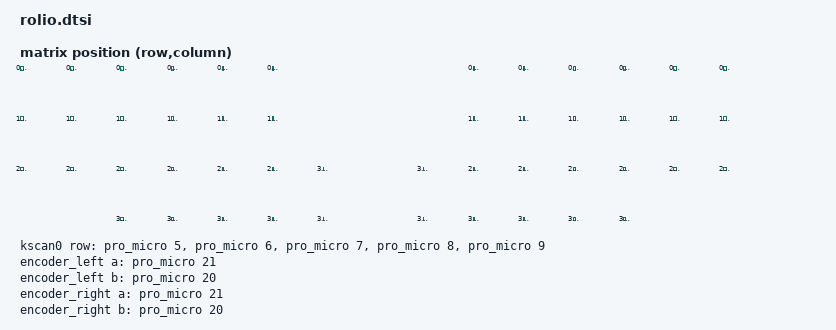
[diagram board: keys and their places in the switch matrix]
/*
 * Copyright (c) 2020 Pete Johanson, Ryan Cross
 *
 * SPDX-License-Identifier: MIT
 */

#include <dt-bindings/zmk/matrix_transform.h>
#include <physical_layouts.dtsi>

/ {
    chosen {
        zmk,kscan = &kscan0;
        zmk,matrix_transform = &default_transform;
        zmk,backlight = &backlight;
    };

    default_transform: keymap_transform_0 {
        compatible = "zmk,matrix-transform";
        columns = <16>;
        rows = <4>;
// | SW_A0 | SW_B0 | SW_C0 | SW_D0 | SW_E0 | SW_F0 |                   | SW_F0 | SW_E0 | SW_D0 | SW_C0 | SW_B0 | SW_A0 |
// | SW_A1 | SW_B1 | SW_C1 | SW_D1 | SW_E1 | SW_F1 |                   | SW_F1 | SW_E1 | SW_D1 | SW_C1 | SW_B1 | SW_A1 |
// | SW_A2 | SW_B2 | SW_C2 | SW_D2 | SW_E2 | SW_F2 | RE_1  |   | RE_1  | SW_F2 | SW_E2 | SW_D2 | SW_C2 | SW_B2 | SW_A2 |
//                 | SW_B4 | SW_B3 | SW_C3 | SW_D3 | SW_E3 |   | SW_E3 | SW_D3 | SW_C3 | SW_B3 | SW_B4 |
        map = <
RC(0,0) RC(0,1) RC(0,2) RC(0,3) RC(0,4) RC(0,5)                    RC(0,6) RC(0,7) RC(0,8) RC(0,9) RC(0,10) RC(0,11)
RC(1,0) RC(1,1) RC(1,2) RC(1,3) RC(1,4) RC(1,5)                    RC(1,6) RC(1,7) RC(1,8) RC(1,9) RC(1,10) RC(1,11)
RC(2,0) RC(2,1) RC(2,2) RC(2,3) RC(2,4) RC(2,5) RC(3,0)   RC(3,11) RC(2,6) RC(2,7) RC(2,8) RC(2,9) RC(2,10) RC(2,11)
                RC(3,2) RC(3,3) RC(3,4) RC(3,5) RC(3,1)   RC(3,10) RC(3,6) RC(3,7) RC(3,8) RC(3,9)
        >;
    };

    kscan0: kscan {
        compatible = "zmk,kscan-gpio-matrix";
        label = "KSCAN";

        diode-direction = "col2row";
        row-gpios
            = <&pro_micro 5 (GPIO_ACTIVE_HIGH | GPIO_PULL_DOWN)>
            , <&pro_micro 6 (GPIO_ACTIVE_HIGH | GPIO_PULL_DOWN)>
            , <&pro_micro 7 (GPIO_ACTIVE_HIGH | GPIO_PULL_DOWN)>
            , <&pro_micro 8 (GPIO_ACTIVE_HIGH | GPIO_PULL_DOWN)>
            , <&pro_micro 9 (GPIO_ACTIVE_HIGH | GPIO_PULL_DOWN)>
            ;
    };

    physical_layout0: physical_layout_0 {
        compatible = "zmk,physical-layout";
        display-name = "Default Layout";
        keys  //                   w   h    x       y     rot    rx    ry
            = <&key_physical_attrs 1   0      0     0       0     0     0>
            , <&key_physical_attrs 2   0    100     0       0     0     0>
            , <&key_physical_attrs 3   0    200     0       0     0     0>
            , <&key_physical_attrs 4   0    300     0       0     0     0>
            , <&key_physical_attrs 5   0    400     0       0     0     0>
            , <&key_physical_attrs 6   0    500     0       0     0     0>

            , <&key_physical_attrs 9   0    900     0       0     0     0>
            , <&key_physical_attrs 10  0    1000     0       0     0     0>
            , <&key_physical_attrs 11  0    1100     0       0     0     0>
            , <&key_physical_attrs 12  0    1200     0       0     0     0>
            , <&key_physical_attrs 13  0    1300    0       0     0     0>
            , <&key_physical_attrs 14  0    1400    0       0     0     0>

            
            , <&key_physical_attrs 1   1      0    100       0     0     0>
            , <&key_physical_attrs 2   1    100    100       0     0     0>
            , <&key_physical_attrs 3   1    200    100       0     0     0>
            , <&key_physical_attrs 4   1    300    100       0     0     0>
            , <&key_physical_attrs 5   1    400    100       0     0     0>
            , <&key_physical_attrs 6   1    500    100       0     0     0>

            , <&key_physical_attrs 9   1    900    100       0     0     0>
            , <&key_physical_attrs 10  1    1000    100       0     0     0>
            , <&key_physical_attrs 11  1    1100    100       0     0     0>
            , <&key_physical_attrs 12  1    1200    100       0     0     0>
            , <&key_physical_attrs 13  1    1300   100       0     0     0>
            , <&key_physical_attrs 14  1    1400   100       0     0     0>


            , <&key_physical_attrs 1   2      0    200       0     0     0>
            , <&key_physical_attrs 2   2    100    200       0     0     0>
            , <&key_physical_attrs 3   2    200    200       0     0     0>
            , <&key_physical_attrs 4   2    300    200       0     0     0>
            , <&key_physical_attrs 5   2    400    200       0     0     0>
            , <&key_physical_attrs 6   2    500    200       0     0     0>
            , <&key_physical_attrs 7   2    600    200       0     0     0>
            
            , <&key_physical_attrs 8   2    800    200       0     0     0>
            , <&key_physical_attrs 9   2    900    200       0     0     0>
            , <&key_physical_attrs 10  2    1000    200       0     0     0>
            , <&key_physical_attrs 11  2    1100    200       0     0     0>
            , <&key_physical_attrs 12  2    1200    200       0     0     0>
            , <&key_physical_attrs 13  2    1300    200       0     0     0>
            , <&key_physical_attrs 14  2    1400    200       0     0     0>


            , <&key_physical_attrs 3   3    200    300       0     0     0>
            , <&key_physical_attrs 4   3    300    300       0     0     0>
            , <&key_physical_attrs 5   3    400    300       0     0     0>
            , <&key_physical_attrs 6   3    500    300       0     0     0>
            , <&key_physical_attrs 7   3    600    300       0     0     0>

            , <&key_physical_attrs 8   3    800    300       0     0     0>
            , <&key_physical_attrs 9   3    900    300       0     0     0>
            , <&key_physical_attrs 10  3    1000    300       0     0     0>
            , <&key_physical_attrs 11  3    1100    300       0     0     0>
            , <&key_physical_attrs 12  3    1200    300       0     0     0>        
            ;
    };

    encoder_left: encoder_left {
        compatible = "alps,ec11";
        label = "LEFT_ENCODER";
        a-gpios = <&pro_micro 21 (GPIO_ACTIVE_HIGH | GPIO_PULL_UP)>;
        b-gpios = <&pro_micro 20 (GPIO_ACTIVE_HIGH | GPIO_PULL_UP)>;
        steps = <60>;
        status = "disabled";
    };

    encoder_right: encoder_right {
        compatible = "alps,ec11";
        label = "RIGHT_ENCODER";
        a-gpios = <&pro_micro 21 (GPIO_ACTIVE_HIGH | GPIO_PULL_UP)>;
        b-gpios = <&pro_micro 20 (GPIO_ACTIVE_HIGH | GPIO_PULL_UP)>;
        steps = <60>;
        status = "disabled";
    };

    sensors {
        compatible = "zmk,keymap-sensors";
        sensors = <&encoder_left &encoder_right>;
        triggers-per-rotation = <15>;
    };

    backlight: pwmleds {
        compatible = "pwm-leds";
        pwm_led_0 {
            pwms = <&pwm0 0 10000 PWM_POLARITY_NORMAL>;
        };
    };

};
